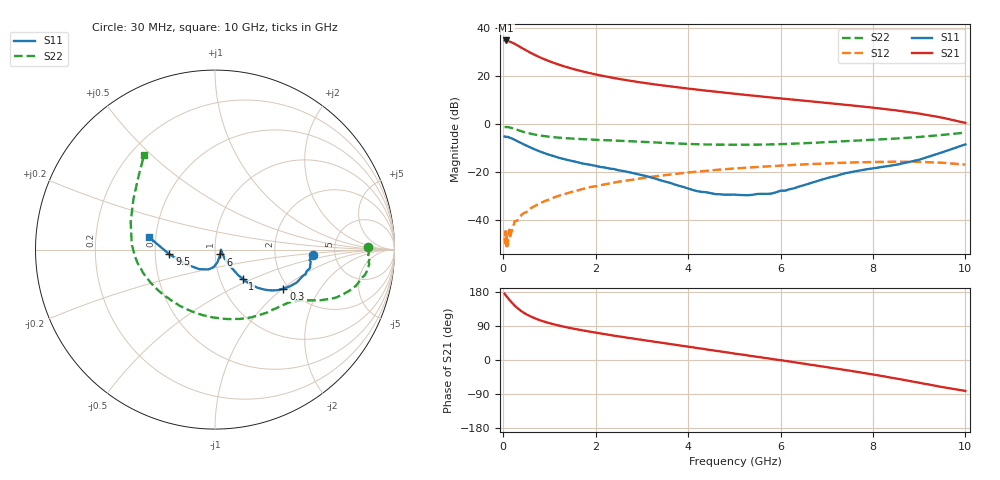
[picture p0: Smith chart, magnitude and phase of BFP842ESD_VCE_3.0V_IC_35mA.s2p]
! Infineon Technologies  Discrete & RF Semiconductors
! BFP842ESD
! VCE =  3.0 V,  IC =  35 mA
! Common Emitter S-Parameters:  May 2012
# GHz  S  MA  R  50
!  f  S11  S21  S12  S22
! GHz  MAG  ANG  MAG  ANG  MAG  ANG  MAG  ANG
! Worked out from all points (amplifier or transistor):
!   99 points, 30 MHz to 10 GHz, reference 50 ohm
!   highest |S21| = 34.9 dB at 60 MHz (marker M1)
!   |S21| within 3 dB of that: start of sweep to 391.7 MHz
!   unconditionally stable (mu >= 1): 36.58 MHz to 41.5 MHz; 61.05 MHz to 72.08 MHz; 1.514 GHz to end of sweep (the widest 3 of 4)
!   at 350 MHz: K = 0.76, MSG = 35.8 dB, |S12| = -39.2 dB
!   at 3.5 GHz: K = 1.07, MAG = 17.0 dB, |S12| = -21.4 dB
!   at 10 GHz: K = 1.72, MAG = 3.8 dB, |S12| = -17.0 dB
!   S11 on the Smith chart (normalised r, x): 30 MHz: 3.39, -0.28; 300 MHz: 1.88, -1.01; 1 GHz: 1.28, -0.44; 6 GHz: 1.06, -0.06; 9.5 GHz: 0.59, -0.03; 10 GHz: 0.46, +0.07
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0.03  0.5474 -3.0  55.26 174.9  0.0042 30.8  0.8533 0.8
0.05  0.5294 -6.1  54.63 171.4  0.0058 -26.2  0.8536 -2.6
0.06  0.5368 -7.1  55.33 169.9  0.0037 14.9  0.8631 -3.0
0.11  0.526 -12.9  53.77 162.2  0.0046 33.8  0.8548 -7.5
0.2  0.4913 -21.9  49.48 149.8  0.0065 54.7  0.8109 -14.4
0.25  0.4642 -26.2  46.97 143.4  0.0093 60.0  0.7809 -17.2
0.3  0.4384 -29.7  43.99 137.7  0.0095 60.3  0.7539 -19.4
0.35  0.4158 -32.9  41.39 132.8  0.011 63.2  0.7271 -21.5
0.45  0.3722 -37.4  36.37 124.3  0.0138 65.2  0.6773 -24.2
0.6  0.3186 -41.9  30.3 114.5  0.0175 66.2  0.6234 -27.0
0.8  0.2644 -45.0  24.43 104.7  0.0221 67.1  0.5731 -29.6
1  0.2255 -46.7  20.36 97.2  0.0264 64.7  0.5403 -31.9
1.3  0.1859 -47.9  16.14 88.3  0.0336 63.1  0.5076 -35.5
1.7  0.1502 -47.6  12.6 78.6  0.0433 59.6  0.4814 -40.8
2.4  0.114 -47.6  9.063 64.2  0.0595 51.9  0.4501 -52.2
3.4  0.0668 -41.0  6.46 46.0  0.0829 40.4  0.405 -72.5
5.1  0.0329 -2.1  4.176 15.4  0.1192 17.4  0.3673 -115.5
6  0.0403 -41.9  3.41 -0.5  0.1346 4.1  0.3786 -136.1
6.7  0.0602 -71.5  2.933 -13.3  0.1458 -6.5  0.4029 -152.8
8.5  0.14 -129.2  1.919 -48.8  0.1627 -38.7  0.4947 161.7
9.5  0.2556 -174.1  1.351 -71.4  0.1547 -61.1  0.5897 136.3
10  0.374 169.3  1.05 -81.7  0.1415 -72.4  0.6575 127.0
